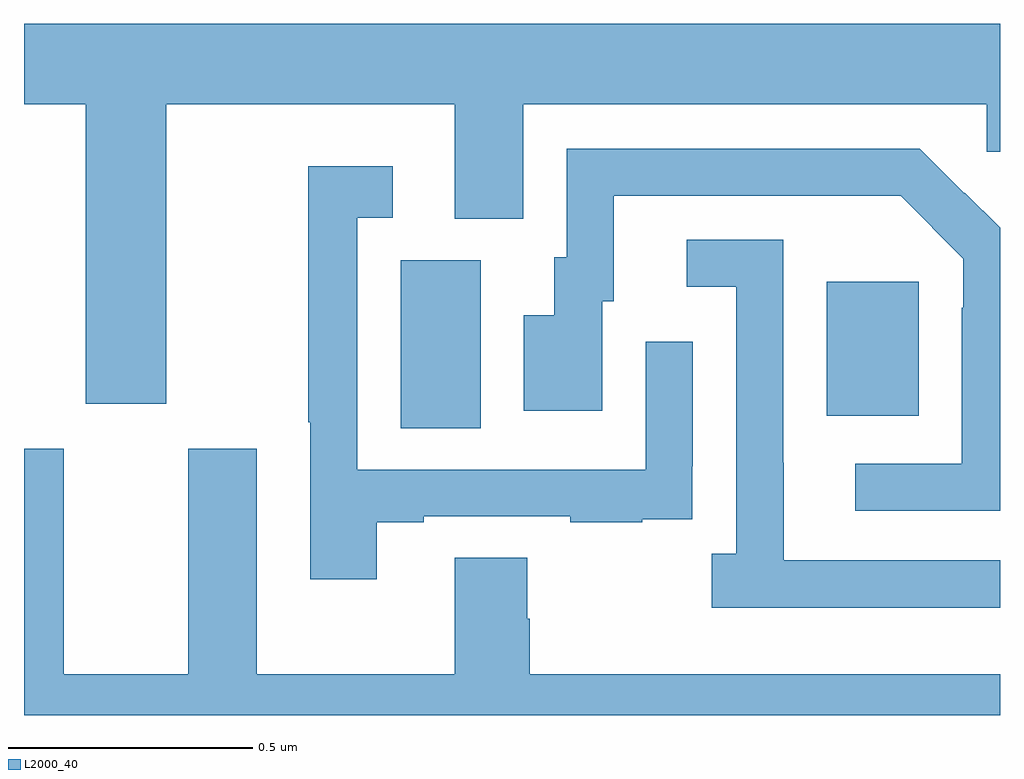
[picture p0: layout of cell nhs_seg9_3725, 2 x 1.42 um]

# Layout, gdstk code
import gdstk
lib = gdstk.Library(unit=1e-6, precision=1e-09)
def R(c, l, rs):  # rectangles x0, y0, x1, y1
    for r in rs: c.add(gdstk.rectangle(r[:2], r[2:], *l))
def P(c, l, *ps):  # polygons
    for p in ps: c.add(gdstk.Polygon(p, *l))
L2000_40 = (2000, 40)

nhs_seg9_3725 = lib.new_cell('nhs_seg9_3725')
R(nhs_seg9_3725, L2000_40, [(157.772,1197.088,157.936,1197.432), (158.645,1197.113,158.833,1197.388)])
P(nhs_seg9_3725, L2000_40, [(157.291,1197.752),(157.883,1197.752),(157.883,1197.517),(158.023,1197.517),(158.023,1197.752),(158.973,1197.752),(158.973,1197.654),(159,1197.654),(159,1197.916),(157,1197.916),(157,1197.752),(157.127,1197.752),(157.127,1197.138),(157.291,1197.138)],
  [(159,1197.498),(158.928,1197.57),(158.927,1197.569),(158.836,1197.66),(158.112,1197.66),(158.112,1197.438),(158.087,1197.438),(158.087,1197.319),(158.024,1197.319),(158.024,1197.123),(158.185,1197.123),(158.185,1197.348),(158.209,1197.348),(158.209,1197.564),(158.797,1197.564),(158.925,1197.435),(158.925,1197.335),(158.922,1197.335),(158.922,1197.015),(158.703,1197.015),(158.703,1196.919),(159,1196.919)],
  [(157.723,1196.895),(157.819,1196.895),(157.819,1196.907),(158.119,1196.907),(158.119,1196.895),(158.267,1196.895),(158.267,1196.901),(158.369,1196.901),(158.369,1197.01),(158.37,1197.01),(158.37,1197.265),(158.274,1197.265),(158.274,1197.003),(157.683,1197.003),(157.683,1197.519),(157.756,1197.519),(157.756,1197.625),(157.582,1197.625),(157.582,1197.1),(157.587,1197.1),(157.587,1196.778),(157.723,1196.778)],
  [(159,1196.817),(158.557,1196.817),(158.557,1197.017),(158.556,1197.017),(158.556,1197.474),(158.358,1197.474),(158.358,1197.378),(158.46,1197.378),(158.46,1196.83),(158.409,1196.83),(158.409,1196.72),(159,1196.72)],
  [(159,1196.584),(158.036,1196.584),(158.036,1196.697),(158.031,1196.697),(158.031,1196.822),(157.883,1196.822),(157.883,1196.584),(157.477,1196.584),(157.477,1197.046),(157.337,1197.046),(157.337,1196.584),(157.081,1196.584),(157.081,1197.046),(157,1197.046),(157,1196.5),(159,1196.5)])

lib.write_gds('nhs_seg9_3725.gds')
